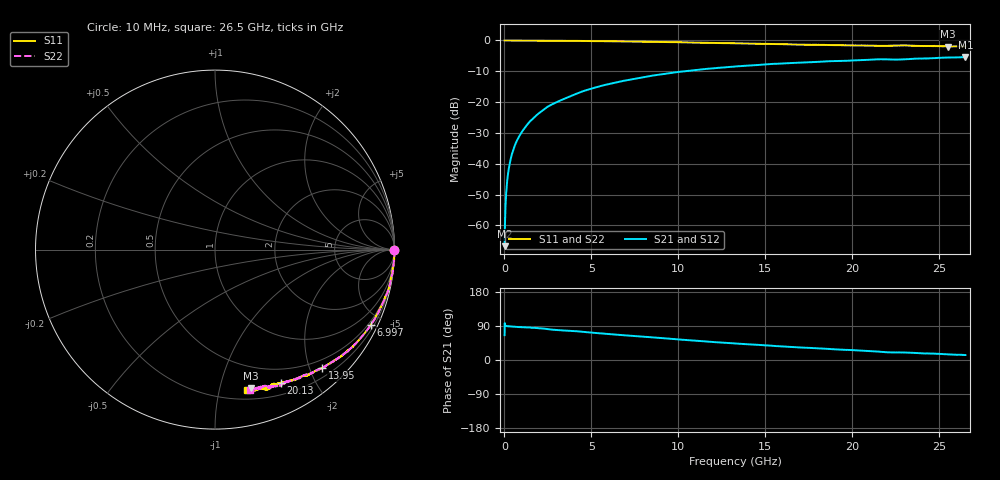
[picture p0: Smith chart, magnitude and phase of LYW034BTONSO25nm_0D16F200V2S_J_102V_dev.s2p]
!Keysight Technologies,N5222B,MY61253708,A.15.00.15
!Date: Wednesday, June 19, 2024 09:38:36
!Correction: S11(C  2-Port  )
!S21(C  2-Port  )
!S12(C  2-Port  )
!S22(C  2-Port  )
!S2P File: Measurements: S11, S21, S12, S22:
# Hz S  RI  R 50
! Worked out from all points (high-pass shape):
!   2651 points, 10 MHz to 26.5 GHz, reference 50 ohm
!   highest |S21| = -5.38 dB at 26.5 GHz (marker M1); lowest = -66.7 dB at 10 MHz (marker M2)
!   |S21| within 3 dB of the highest: 13.44 GHz to end of sweep
!   lowest |S11| = -2.0 dB at 25.5 GHz (marker M3), VSWR 8.78, Z = 14.8 - j62.3 ohm
!   |S11| at or under -10 dB: nowhere
!   |S22| runs from -1.9 to 0.0 dB; largest |S21 - S12| = 0.0067
!   S11 on the Smith chart (normalised r, x): 10 MHz: open; 6.997 GHz: 0.37, -4.34; 13.95 GHz: 0.35, -2.21; 20.13 GHz: 0.33, -1.56; 26.5 GHz: 0.27, -1.22
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1e7  0.9986 -0.00243  0.00019 0.000419  0.000171 0.00031  0.9985 -0.00113
6.997736e7  1 -0.00518  1.38e-05 0.00232  5.1e-05 0.00235  0.9997 -0.00476
1.599434e8  0.9998 -0.0115  6.53e-05 0.00531  4.65e-05 0.00535  0.9997 -0.0106
2.099245e8  0.9997 -0.0143  9.92e-05 0.00694  0.000134 0.00704  0.9995 -0.0136
2.699019e8  0.9997 -0.0186  0.000177 0.00895  0.000128 0.00901  0.9999 -0.0176
3.798604e8  0.9994 -0.0262  0.000332 0.0126  0.000346 0.0127  0.9993 -0.0253
5.098113e8  0.9991 -0.0344  0.000573 0.0169  0.000597 0.017  0.9992 -0.0334
6.697509e8  0.9983 -0.0445  0.000941 0.0222  0.000963 0.0223  0.9986 -0.0436
8.596792e8  0.9981 -0.0575  0.00157 0.0283  0.00157 0.0285  0.9976 -0.0567
1.469449e9  0.9905 -0.0993  0.00378 0.0487  0.00383 0.049  0.9933 -0.0947
2.349117e9  0.9816 -0.1535  0.0102 0.0786  0.0105 0.0792  0.9831 -0.1529
3.218789e9  0.9699 -0.2093  0.0214 0.1045  0.0216 0.1053  0.9709 -0.2073
4.428332e9  0.9419 -0.2816  0.0386 0.1419  0.0391 0.1429  0.9443 -0.2778
6.997362e9  0.8679 -0.4191  0.0957 0.2041  0.0973 0.205  0.8707 -0.4177
8.846664e9  0.8012 -0.5034  0.1455 0.237  0.1473 0.2377  0.8042 -0.5003
1.3255e10  0.6243 -0.643  0.2731 0.261  0.2758 0.2606  0.6306 -0.6401
1.395474e10  0.5977 -0.6596  0.292 0.2588  0.2938 0.259  0.6028 -0.6567
1.767333e10  0.4517 -0.7214  0.3793 0.2328  0.3831 0.2309  0.4654 -0.7182
2.01324e10  0.3681 -0.742  0.4278 0.2068  0.4316 0.2037  0.3864 -0.7437
2.209166e10  0.3165 -0.7531  0.4618 0.1706  0.4638 0.1673  0.3141 -0.7595
2.550038e10  0.1979 -0.7704  0.5108 0.1339  0.5124 0.1331  0.2216 -0.7741
2.65e10  0.1788 -0.7846  0.5242 0.1227  0.5238 0.1184  0.195 -0.7837
